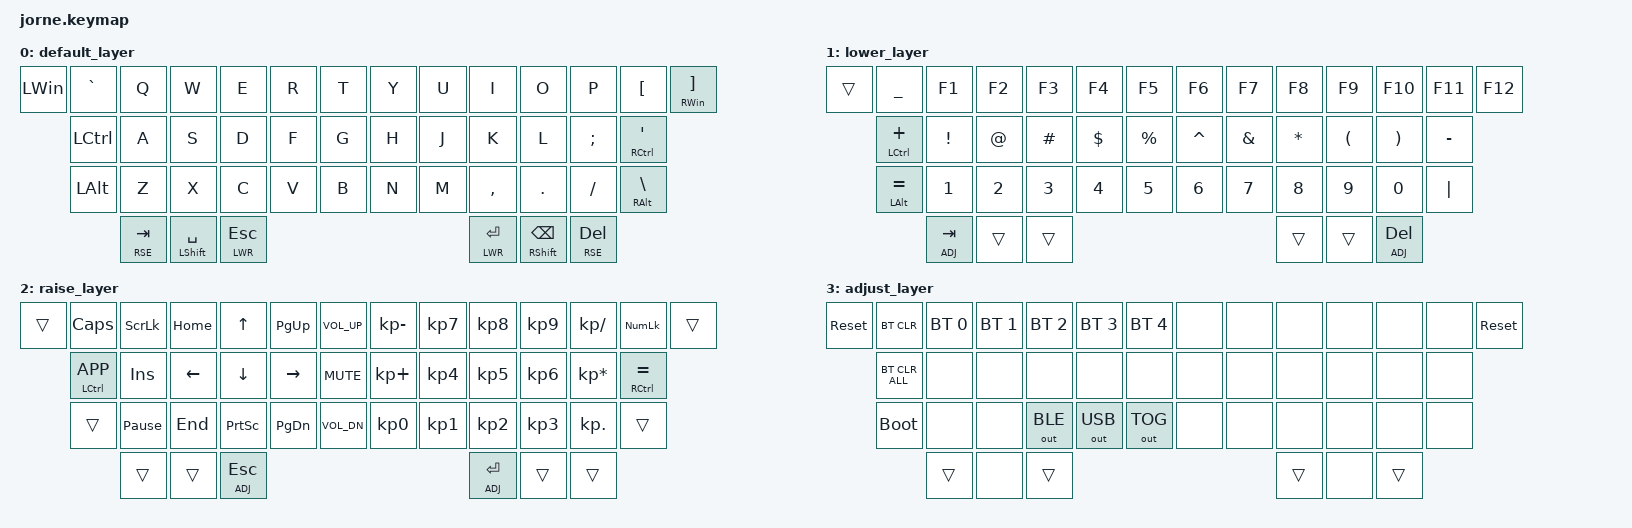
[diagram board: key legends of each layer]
/*
 * Copyright (c) 2020 The ZMK Contributors
 *
 * SPDX-License-Identifier: MIT
 */

#include <behaviors.dtsi>
#include <dt-bindings/zmk/keys.h>
#include <dt-bindings/zmk/bt.h>
#include <dt-bindings/zmk/outputs.h>

#define DEF 0
#define LWR 1
#define RSE 2
#define ADJ 3

&lt {
    flavor = "balanced";
    tapping-term-ms = <200>;
};

/ {
        keymap {
                compatible = "zmk,keymap";

                default_layer {
// -----------------------------------------------------------------------------------------
// |  GUI |   ~  |  Q  |  W  |  E  |  R  |  T  |   |  Y  |  U   |  I  |  O  |  P  |  [   | GUI/] |
//        | LCTRL|  A  |  S  |  D  |  F  |  G  |   |  H  |  J   |  K  |  L  |  ;  |RCTRL/'|
//        | LALT |  Z  |  X  |  C  |  V  |  B  |   |  N  |  M   |  ,  |  .  |  /  |RALT/\|
//                     | RSE/TAB|LS/SPC|LWR/ESC|   |LWR/RET|RS/BSPC|RSE/DEL|
                        bindings = <
   &kp LWIN &kp GRAVE &kp Q &kp W &kp E &kp R &kp T &kp Y         &kp U  &kp I     &kp O   &kp P    &kp LBKT &mt RWIN RBKT
            &kp LCTRL &kp A &kp S &kp D &kp F &kp G &kp H         &kp J  &kp K     &kp L   &kp SEMI &mt RCTRL SQT
            &kp LALT  &kp Z &kp X &kp C &kp V &kp B &kp N         &kp M  &kp COMMA &kp DOT &kp FSLH &mt RALT BSLH
                         &lt RSE TAB &mt LSHFT SPACE &lt LWR ESC &lt LWR RET &mt RSHFT BSPC &lt RSE DEL
                        >;
                };
                lower_layer {
// -----------------------------------------------------------------------------------------
// |     |  _  |  F1 |  F2 |  F3 |  F4 |  F5 |   |  F6 |  F7 |  F8 |  F9 | F10 | F11 | F12 |
//      |LCTR/+|  !  |  @  |  #  |  $  |  %  |   |  ^  |  &  |  *  |  (  |  )  |  -  |
//      |LALT/=|  1  |  2  |  3  |  4  |  5  |   |  6  |  7  |  8  |  9  |  0  |  |  |
//                       |ADJ/TAB| SPC |     |   |     | BSPC|ADJ/DEL|
                        bindings = <
   &trans &kp UNDER      &kp F1   &kp F2 &kp F3   &kp F4   &kp F5           &kp F6    &kp F7   &kp F8   &kp F9   &kp F10  &kp F11 &kp F12
          &mt LCTRL PLUS &kp EXCL &kp AT &kp HASH &kp DLLR &kp PRCNT        &kp CARET &kp AMPS &kp STAR &kp LPAR &kp RPAR &kp MINUS
          &mt LALT EQUAL &kp N1   &kp N2 &kp N3   &kp N4   &kp N5           &kp N6    &kp N7   &kp N8   &kp N9   &kp N0   &kp PIPE
                                        &lt ADJ TAB &trans &trans   &trans &trans &lt ADJ DEL
                        >;
                };
                raise_layer {
//VICE VERSA
// -----------------------------------------------------------------------------------------
// |     | NMLK |  /  |  7  |  8  |  9  |  -  |   | VOLU| HOME| PRSC| PGUP| SCLK| CLCK|     |
//       |LCTR/=|  *  |  4  |  5  |  6  |  +  |   | MUT | LEFT|  UP | RGHT| INS | APP |
//       | LALT |  0  |  1  |  2  |  3  |  .  |   | VOLD| END | DOWN| PGDN| PAUS|     |
//                        |     |     |ADJ/ESC|   |ADJ/RET|     |     |
//   &trans &kp KP_NUM      &kp KP_SLASH    &kp KP_N7 &kp KP_N8 &kp KP_N9 &kp KP_MINUS        &kp C_VOL_UP &kp HOME &kp PSCRN &kp PG_UP &kp SLCK &kp CAPS &trans
//          &mt LCTRL EQUAL &kp KP_MULTIPLY &kp KP_N4 &kp KP_N5 &kp KP_N6 &kp KP_PLUS         &kp C_MUTE   &kp LEFT &kp UP    &kp RIGHT &kp INS  &mt RCTRL K_APP
//          &trans          &kp KP_N0       &kp KP_N1 &kp KP_N2 &kp KP_N3 &kp KP_DOT          &kp C_VOL_DN &kp END  &kp DOWN  &kp PG_DN &kp PAUSE_BREAK &trans
//                                                           &trans &trans &lt ADJ ESC        &lt ADJ RET &trans &trans
                        bindings = <
   &trans &kp CAPS &kp SLCK &kp HOME &kp UP &kp PG_UP &kp C_VOL_UP          &kp KP_MINUS &kp KP_N7 &kp KP_N8 &kp KP_N9 &kp KP_SLASH &kp KP_NUM &trans
        &mt LCTRL K_APP &kp INS &kp LEFT &kp DOWN &kp RIGHT &kp C_MUTE      &kp KP_PLUS &kp KP_N4 &kp KP_N5 &kp KP_N6 &kp KP_MULTIPLY &mt RCTRL EQUAL
        &trans &kp PAUSE_BREAK &kp END &kp PSCRN &kp PG_DN &kp C_VOL_DN     &kp KP_N0 &kp KP_N1 &kp KP_N2 &kp KP_N3 &kp KP_DOT &trans
                                                           &trans &trans &lt ADJ ESC        &lt ADJ RET &trans &trans
                        >;
                };
                adjust_layer {
// -----------------------------------------------------------------------------------------
// | RST | BLCLR| BT0 | BT1 | BT2 | BT3 | BT4 |   |     |     |     |     |     |      | RST |
//      |BTCLRALL|     |     |     |     |     |   |     |     |     |     |     |      |
//       | BTLDR|     |     |O/BLE|O/USB|O/TOG|   |     |     |     |     |     |      |
//                          |     |     |     |   |     |     |     |
                        bindings = <
   &sys_reset &bt BT_CLR &bt BT_SEL 0 &bt BT_SEL 1 &bt BT_SEL 2 &bt BT_SEL 3 &bt BT_SEL 4    &none        &none        &none        &none        &none         &none &sys_reset
          &bt BT_CLR_ALL &none        &none        &none        &none        &none           &none        &none        &none        &none        &none         &none
          &bootloader    &none        &none        &out OUT_BLE &out OUT_USB &out OUT_TOG    &none        &none        &none        &none        &none         &none
                                                                    &trans &none &trans   &trans &none &trans
                        >;
                };
        };
};
